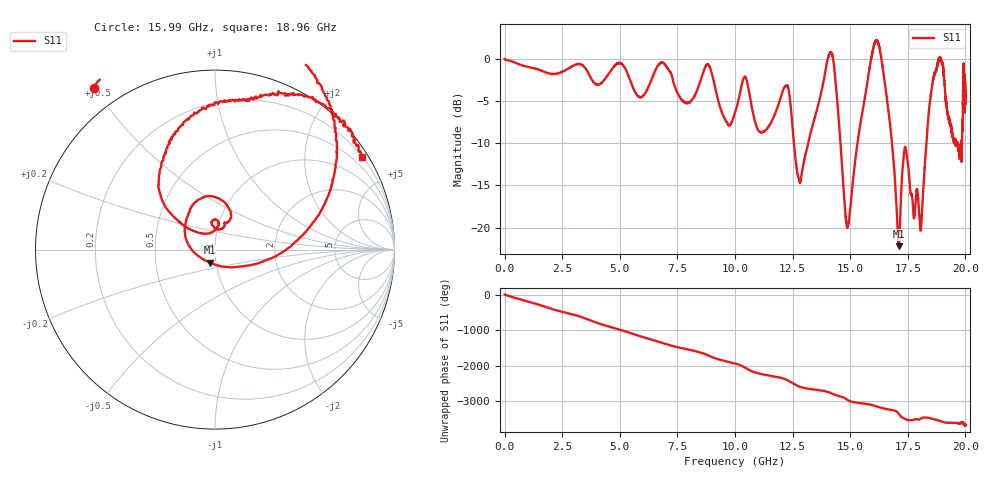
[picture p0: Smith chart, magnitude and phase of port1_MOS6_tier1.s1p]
! Created with skrf 1.8.0 (http://scikit-rf.org).
# GHz S RI R 50.0
!freq ReS11 ImS11
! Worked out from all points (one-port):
!   10001 points, 1 MHz to 20 GHz, reference 50 ohm
!   lowest |S11| = -22.2 dB at 17.1 GHz (marker M1), VSWR 1.17, Z = 46.8 - j6.85 ohm
!   |S11| at or under -10 dB: 12.56 GHz to 13.18 GHz (619.1 MHz wide, 4.81 % of centre); 14.58 GHz to 15.32 GHz (738.9 MHz wide, 4.94 % of centre); 16.81 GHz to 18.31 GHz (1.494 GHz wide, 8.51 % of centre) (the widest 3 of 16)
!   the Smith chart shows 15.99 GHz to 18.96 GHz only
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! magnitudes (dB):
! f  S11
! 1 MHz  0.0
! 2.501 GHz  -1.5
! 5.001 GHz  -0.5
! 5.833 GHz  -4.5
! 6.815 GHz  -0.5
! 7.501 GHz  -4.0
! 8.825 GHz  -0.7
! 9.605 GHz  -7.4
! 10 GHz  -6.4
! 10.44 GHz  -2.1
! 11.25 GHz  -8.6
! 12.22 GHz  -3.2
! 12.5 GHz  -8.2
! 12.84 GHz  -14.5
! 14.17 GHz  0.7
! 14.38 GHz  -3.1
! 14.81 GHz  -18.9
! 15 GHz  -17.8
! 16.15 GHz  2.1
! 16.67 GHz  -6.4
! 17.1 GHz  -22.2
! 17.33 GHz  -11.3
! 17.5 GHz  -12.3
! 18.06 GHz  -20.3
! 18.46 GHz  -5.2
! 18.79 GHz  -0.7
! 19.73 GHz  -11.1
! 20 GHz  -2.8
